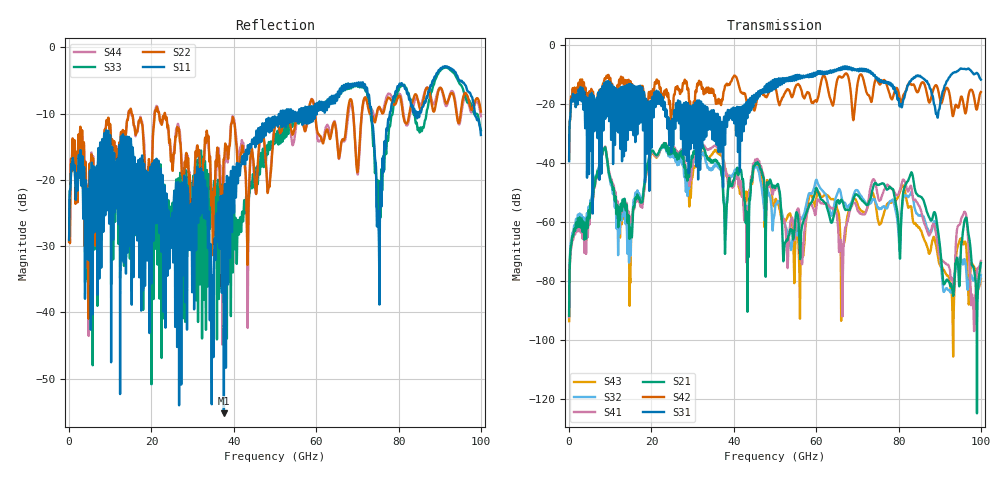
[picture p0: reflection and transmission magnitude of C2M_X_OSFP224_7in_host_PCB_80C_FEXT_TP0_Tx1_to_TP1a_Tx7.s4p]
# GHz S RI R 45
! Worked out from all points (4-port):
!   4000 points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, 25 MHz to 100 GHz, reference 45 ohm
!   strongest paths, dB at 25 MHz, 25.02 GHz, 50.02 GHz, 75.03 GHz, 100 GHz:
!     S31: -39.3, -25.3, -12.0, -11.9, -11.7
!     S42: -38.6, -22.1, -13.7, -12.5, -15.9
!     S21: -91.8, -36.7, -48.4, -47.4, -73.8
!     S41: -92.2, -35.6, -49.0, -51.5, -73.1
!     S32: -90.1, -38.0, -55.3, -55.1, -77.9
!     S43: -93.6, -36.7, -53.4, -59.3, -79.3
!   lowest |S11| = -55.2 dB at 37.6 GHz (marker M1), VSWR 1.00, Z = 44.9 - j0.136 ohm
!   |S11| at or under -10 dB: start of sweep to 51.36 GHz; 73.44 GHz to 77.87 GHz (4.434 GHz wide, 5.86 % of centre); 98.55 GHz to end of sweep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
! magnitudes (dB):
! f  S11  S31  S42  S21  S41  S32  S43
! 25 MHz  -29.1  -39.3  -38.6  -91.8  -92.2  -90.1  -93.6
! 8.525 GHz  -13.1  -13.3  -12.2  -35.3  -35.3  -35.4  -35.4
! 14.62 GHz  -14.9  -16.2  -12.8  -63.0  -58.5  -70.4  -74.9
! 23.02 GHz  -25.9  -20.9  -17.3  -33.4  -33.4  -33.7  -33.6
! 37.6 GHz  -55.2  -25.0  -15.7  -53.6  -39.3  -51.6  -39.6
! 83.08 GHz  -8.9  -12.0  -13.5  -43.2  -47.8  -49.9  -54.8
! 100 GHz  -13.2  -11.7  -15.9  -73.8  -73.1  -77.9  -79.3
